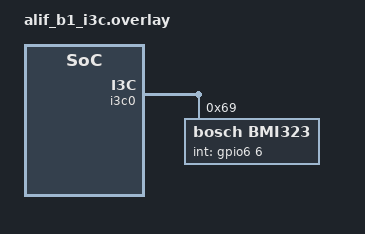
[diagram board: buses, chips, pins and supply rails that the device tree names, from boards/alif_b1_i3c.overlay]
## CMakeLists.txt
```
cmake_minimum_required(VERSION 3.20.0)
find_package(Zephyr REQUIRED HINTS $ENV{ZEPHYR_BASE})
project(i3c)

set(I3C_COMMON_SOURCES src/i3c_common.c)

set(I3C_DISCOVERY_SOURCES src/i3c_discovery.c ${I3C_COMMON_SOURCES})

set(I3C_CCC_SOURCES src/i3c_ccc.c ${I3C_COMMON_SOURCES})

set(I3C_IBI_SOURCES src/i3c_ibi.c ${I3C_COMMON_SOURCES})

set(I3C_NEGATIVE_SOURCES src/i3c_negative.c ${I3C_COMMON_SOURCES})

set(I3C_SENSOR_SOURCES src/i3c_sensor.c ${I3C_COMMON_SOURCES})


if(CONFIG_I3C_DISCOVERY_TESTS)
  target_sources(app PRIVATE ${I3C_DISCOVERY_SOURCES})
endif()

if(CONFIG_I3C_CCC_TESTS)
  target_sources(app PRIVATE ${I3C_CCC_SOURCES})
endif()

if(CONFIG_I3C_IBI_TESTS)
  target_sources(app PRIVATE ${I3C_IBI_SOURCES})
endif()

if(CONFIG_I3C_NEGATIVE_TESTS)
  target_sources(app PRIVATE ${I3C_NEGATIVE_SOURCES})
endif()

if(CONFIG_I3C_SENSOR_TESTS)
  target_sources(app PRIVATE ${I3C_SENSOR_SOURCES})
endif()
```

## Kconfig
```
# SPDX-License-Identifier: Apache-2.0
#
# Copyright Alif Semiconductor - All Rights Reserved.
# Use, distribution and modification of this code is permitted under the
# terms stated in the Alif Semiconductor Software License Agreement
#
# You should have received a copy of the Alif Semiconductor Software
# License Agreement with this file. If not, please write to:
# contact@alifsemi.com, or visit: https://alifsemi.com/license

menu "I3C test options"

config I3C_ALL_TESTS
	bool "Enable all I3C test suites"
	select I3C_DISCOVERY_TESTS
	select I3C_CCC_TESTS
	select I3C_IBI_TESTS
	select I3C_NEGATIVE_TESTS
	help
	  This option enables all standard I3C test suites including
	  discovery tests, Common Command Code (CCC) tests, In-Band
	  Interrupt (IBI) tests, negative tests.
	  This is a convenience option for running comprehensive I3C
	  controller validation. Note that I3C_SENSOR_TESTS is not
	  included as it requires specific sensor hardware.

config I3C_DISCOVERY_TESTS
	bool "Enable I3C discovery test suite"
	help
	  This option enables the I3C discovery test suite which validates
	  the Dynamic Address Assignment (DAA) process, Provisional ID (PID)
	  retrieval, target enumeration, RSTDAA broadcast commands, and
	  various discovery-related CCCs. These tests verify that the I3C
	  controller can properly discover and configure devices on the bus.

config I3C_CCC_TESTS
	bool "Enable I3C CCC test suite"
	help
	  This option enables the Common Command Code (CCC) test suite
	  which tests mandatory and optional CCCs including GETPID,
	  GETBCR, GETDCR, GETSTATUS, GETMRL, SETMWL, GETMWL, ENEC,
	  DISEC, RSTACT, and GETCAPS. These tests verify that the I3C
	  controller can properly send and receive CCC commands to targets.

config I3C_IBI_TESTS
	bool "Enable I3C IBI test suite"
	help
	  This option enables the In-Band Interrupt (IBI) test suite which
	  validates IBI capability detection via BCR register, ENEC and
	  DISEC commands for enabling/disabling interrupts, and transfer
	  operations with IBI enabled. These tests verify that the I3C
	  controller can handle in-band interrupt requests from targets.

config I3C_NEGATIVE_TESTS
	bool "Enable I3C negative test suite"
	help
	  This option enables the negative test suite which validates
	  error handling for invalid dynamic addresses, null buffer
	  transfers, zero-length transfers, oversized transfers, and
	  CCC commands to invalid targets. These tests verify that the
	  I3C controller properly handles and reports error conditions.

config I3C_SENSOR_TESTS
	bool "Enable I3C sensor test suite"
	help
	  This option enables the sensor test suite which validates
	  real I3C sensor devices including the BMI323 accelerometer
	  and gyroscope, and the ICM42670 motion sensor. These tests
	  require the actual sensor hardware to be connected and
	  configured in the device tree. Enable this only when testing
	  with physical sensor devices present on the I3C bus.

endmenu

source "Kconfig.zephyr"
```

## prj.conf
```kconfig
# Core I3C and test configuration
CONFIG_TEST=y
CONFIG_I3C=y
CONFIG_ZTEST=y
CONFIG_ZTEST_STACK_SIZE=4096

# Memory slab for runtime I3C descriptors (8 = max DAT positions)
CONFIG_I3C_NUM_OF_DESC_MEM_SLABS=8

# Sensor support for BMI323 and ICM42670 tests
CONFIG_SENSOR=y
CONFIG_BMI323=y

# Required dependencies
CONFIG_CLOCK_CONTROL=y
CONFIG_LOG=y
CONFIG_LOG_DEFAULT_LEVEL=3
CONFIG_I3C_LOG_LEVEL_DBG=n
CONFIG_HEAP_MEM_POOL_SIZE=1024
```

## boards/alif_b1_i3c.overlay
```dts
/*
 * Copyright Alif Semiconductor - All Rights Reserved.
 * Use, distribution and modification of this code is permitted under the
 * terms stated in the Alif Semiconductor Software License Agreement
 *
 * You should have received a copy of the Alif Semiconductor Software
 * License Agreement with this file. If not, please write to:
 * contact@alifsemi.com, or visit: https://alifsemi.com/license
 */

/ {
	chosen {
		zephyr,i3c = &i3c0;
	};
	aliases {
		bmi323 = &bmi323;
	};
};

&i3c0 {
	status = "okay";
	od-thigh-min-ns = <41>;
	od-tlow-min-ns = <200>;

	bmi323: bmi323@690000077010431000 {
		compatible = "bosch,bmi323";
		reg = <0x69 0x0770 0x10431000>;
		assigned-address = <0x09>;
		int-gpios = <&gpio6 6 GPIO_ACTIVE_HIGH>;
		status = "okay";
	};
};

&gpio0 {
	status = "okay";
};

&gpio6 {
	status = "okay";
};
```

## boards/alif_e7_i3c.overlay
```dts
/*
 * Copyright Alif Semiconductor - All Rights Reserved.
 * Use, distribution and modification of this code is permitted under the
 * terms stated in the Alif Semiconductor Software License Agreement
 *
 * You should have received a copy of the Alif Semiconductor Software
 * License Agreement with this file. If not, please write to:
 * contact@alifsemi.com, or visit: https://alifsemi.com/license
 */

/ {
	chosen {
		zephyr,i3c = &i3c0;
	};
	aliases {
		bmi323 = &bmi323;
	};
};

&i3c0 {
	status = "okay";
	od-thigh-min-ns = <41>;
	od-tlow-min-ns = <200>;

	bmi323: bmi323@690000077010431000 {
		compatible = "bosch,bmi323";
		reg = <0x69 0x0770 0x10431000>;
		assigned-address = <0x09>;
		int-gpios = <&gpio8 4 GPIO_ACTIVE_HIGH>;
		status = "okay";
	};
};

&gpio7 {
	status = "okay";
};

&gpio8 {
	status = "okay";
};
```

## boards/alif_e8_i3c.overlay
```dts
/*
 * Copyright Alif Semiconductor - All Rights Reserved.
 * Use, distribution and modification of this code is permitted under the
 * terms stated in the Alif Semiconductor Software License Agreement
 *
 * You should have received a copy of the Alif Semiconductor Software
 * License Agreement with this file. If not, please write to:
 * contact@alifsemi.com, or visit: https://alifsemi.com/license
 */

/ {
	chosen {
		zephyr,i3c = &i3c0;
	};
	aliases {
		bmi323 = &bmi323;
	};
};

&i3c0 {
	status = "okay";
	od-thigh-min-ns = <41>;
	od-tlow-min-ns = <200>;
	bmi323: bmi323@690000077010431000 {
		compatible = "bosch,bmi323";
		reg = <0x69 0x0770 0x10431000>;
		assigned-address = <0x09>;
		int-gpios = <&gpio8 4 GPIO_ACTIVE_HIGH>;
		status = "okay";
	};
};

&gpio7 {
	status = "okay";
};

&gpio8 {
	status = "okay";
};
```

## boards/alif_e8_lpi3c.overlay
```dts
/*
 * Copyright Alif Semiconductor - All Rights Reserved.
 * Use, distribution and modification of this code is permitted under the
 * terms stated in the Alif Semiconductor Software License Agreement
 *
 * You should have received a copy of the Alif Semiconductor Software
 * License Agreement with this file. If not, please write to:
 * contact@alifsemi.com, or visit: https://alifsemi.com/license
 */

/ {
	chosen {
		zephyr,i3c = &lpi3c0;
	};
	aliases {
		bmi323 = &bmi323;
	};
};

&lpi3c0 {
	status = "okay";
	od-thigh-min-ns = <41>;
	od-tlow-min-ns = <200>;

	bmi323: bmi323@690000077010431000 {
		compatible = "bosch,bmi323";
		reg = <0x69 0x0770 0x10431000>;
		assigned-address = <0x09>;
		int-gpios = <&gpio8 4 GPIO_ACTIVE_HIGH>;
		status = "okay";
	};
};

&gpio7 {
	status = "okay";
};

&gpio8 {
	status = "okay";
};
```

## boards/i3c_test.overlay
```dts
/*
 * Copyright Alif Semiconductor - All Rights Reserved.
 * Use, distribution and modification of this code is permitted under the
 * terms stated in the Alif Semiconductor Software License Agreement
 *
 * You should have received a copy of the Alif Semiconductor Software
 * License Agreement with this file. If not, please write to:
 * contact@alifsemi.com, or visit: https://alifsemi.com/license
 */

/ {
	aliases {
		/*
		 * Add aliases here for each I3C target device.
		 * Uncomment to enable, comment to disable.
		 */
		bmi323 = &bmi323;
	};

};

&i3c0 {
	status = "okay";
	od-thigh-min-ns = <41>;
	od-tlow-min-ns = <200>;

	/*
	 * BMI323 I3C sensor
	 * PID: 0x077010431000 (manufacturer part-specific)
	 * reg format: <static_addr pid_high pid_low>
	 * - static_addr: 0x69 (7-bit I2C legacy address)
	 * - pid_high: 0x0770 (MSB of 48-bit PID)
	 * - pid_low: 0x10431000 (LSB of 48-bit PID)
	 */
	bmi323: bmi323@690000077010431000 {
		compatible = "bosch,bmi323";
		reg = <0x69 0x0770 0x10431000>;
		assigned-address = <0x09>;
		int-gpios = <&gpio8 4 GPIO_ACTIVE_HIGH>;
		status = "okay";
	};
};

&gpio8 {
	status = "okay";
};
```

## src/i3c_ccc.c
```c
/* Copyright Alif Semiconductor - All Rights Reserved.
 * Use, distribution and modification of this code is permitted under the
 * terms stated in the Alif Semiconductor Software License Agreement
 *
 * You should have received a copy of the Alif Semiconductor Software
 * License Agreement with this file. If not, please write to:
 * contact@alifsemi.com, or visit: https://alifsemi.com/license
 */

#include <zephyr/ztest.h>
#include <zephyr/logging/log.h>
#include <inttypes.h>
#include "i3c_common.h"

LOG_MODULE_REGISTER(i3c_ccc, LOG_LEVEL_INF);

static const struct device *ctrl;

/**
 * @brief CCC test suite setup function
 *
 * Initializes I3C controller and resets bus to clean SDR state.
 * All CCC tests use I3C_TEST_FOR_EACH_MODE macro to iterate
 * through enabled speed modes (SDR by default).
 *
 * @return NULL on success, asserts on failure
 */
static void *suite_setup(void)
{
	ctrl = DEVICE_DT_GET(I3C_CONTROLLER_NODE);
	zassert_true(device_is_ready(ctrl), "I3C controller not ready");

	/* Configure SDR mode only.
	 * NOTE: Zephyr does not support hot-join. DAA must be done by
	 * application or device initialization before tests run.
	 * We do NOT perform RSTDAA+DAA here because:
	 * 1. If all suites run at once, repeated RSTDAA causes address
	 *    increments and driver state issues
	 * 2. If suites run individually, system/DT init should have
	 *    already performed DAA
	 */
	i3c_test_reset_to_sdr(ctrl);

	return NULL;
}

static void test_before(void *fixture)
{
	struct i3c_device_desc *desc;
	int found = 0;

	ARG_UNUSED(fixture);

	/* Verify devices were assigned addresses by prior DAA */
	I3C_BUS_FOR_EACH_I3CDEV(ctrl, desc) {
		if (desc->dynamic_addr != 0U) {
			found++;
		}
	}

	if (found == 0) {
		LOG_WRN("No devices with dynamic address - ensure DAA completed before tests");
		ztest_test_skip();
	}
}

static void test_after(void *fixture)
{
	ARG_UNUSED(fixture);
}

ZTEST_SUITE(i3c_ccc, NULL, suite_setup, test_before, test_after, NULL);

/**
 * @brief Test GETPID (Get Provisional ID) CCC command
 *
 * Retrieves 48-bit provisional ID from each target across all
 * speed modes. PID contains manufacturer ID and unique device ID.
 *
 * Test flow:
 * 1. Iterate through all speed modes
 * 2. For each target, send GETPID CCC
 * 3. Verify response (6 bytes received)
 */
ZTEST(i3c_ccc, test_getpid)
{
	I3C_TEST_FOR_EACH_MODE(ctrl, mode) {
		/* Delay after mode change for targets to stabilize */
		k_msleep(50);

		I3C_TEST_FOR_EACH_TARGET(ctrl, desc) {
			uint8_t pid[6];
			int ret = i3c_do_ccc_getpid(ctrl, desc->dynamic_addr,
						    pid, 6);

			/* Per I3C spec, GETPID is mandatory. */
			zassert_true(ret == 6,
				     "GETPID failed DA=0x%02x %s: %d (exp 6)",
				     desc->dynamic_addr,
				     i3c_test_mode_name(mode), ret);

			/* Verify PID matches descriptor */
			uint64_t pid_from_ccc = ((uint64_t)pid[0] << 40) |
						((uint64_t)pid[1] << 32) |
						((uint64_t)pid[2] << 24) |
						((uint64_t)pid[3] << 16) |
						((uint64_t)pid[4] << 8) |
						pid[5];
			LOG_INF("DA=0x%02x PID: CCC=0x%012" PRIx64
				" desc=0x%012" PRIx64,
				desc->dynamic_addr, pid_from_ccc, desc->pid);
			zassert_equal(pid_from_ccc, desc->pid,
				      "PID mismatch DA=0x%02x",
				      desc->dynamic_addr);
		} I3C_TEST_END_EACH_TARGET
	} I3C_TEST_END_EACH_MODE
}

/**
 * @brief Test GETBCR (Bus Characteristics Register) and
 *        GETDCR (Device Characteristics Register) CCC commands
 *
 * Retrieves bus and device characteristics from each target.
 * BCR contains target capabilities, DCR contains device role.
 *
 * Per I3C specification, GETBCR and GETDCR are mandatory CCCs.
 * Test verifies both values match the device descriptor.
 */
ZTEST(i3c_ccc, test_getbcr_getdcr)
{
	I3C_TEST_FOR_EACH_MODE(ctrl, mode) {
		I3C_TEST_FOR_EACH_TARGET(ctrl, desc) {
			uint8_t bcr, dcr;
			int ret;

			/* Per I3C spec, GETBCR is mandatory */
			ret = i3c_do_ccc_getbcr(ctrl, desc->dynamic_addr, &bcr);
			zassert_ok(ret,
				   "GETBCR failed DA=0x%02x %s",
				   desc->dynamic_addr,
				   i3c_test_mode_name(mode));

			/* Verify BCR matches descriptor */
			LOG_INF("DA=0x%02x BCR: CCC=0x%02x desc=0x%02x",
				desc->dynamic_addr, bcr, desc->bcr);
			zassert_equal(bcr, desc->bcr,
				      "BCR mismatch DA=0x%02x",
				      desc->dynamic_addr);

			/* Per I3C spec, GETDCR is mandatory */
			ret = i3c_do_ccc_getdcr(ctrl, desc->dynamic_addr, &dcr);
			zassert_ok(ret,
				   "GETDCR failed DA=0x%02x %s",
				   desc->dynamic_addr,
				   i3c_test_mode_name(mode));

			/* Verify DCR matches descriptor */
			zassert_equal(dcr, desc->dcr,
				      "DCR mismatch DA=0x%02x %s",
				      desc->dynamic_addr,
				      i3c_test_mode_name(mode));
		} I3C_TEST_END_EACH_TARGET
	} I3C_TEST_END_EACH_MODE
}

/**
 * @brief Test GETSTATUS CCC command
 *
 * Retrieves device status from each target. Status includes
 * pending interrupts, protocol errors, and device state.
 *
 * Note: GETSTATUS may not be supported by all targets.
 * Failures are logged as debug messages, not test failures.
 */
ZTEST(i3c_ccc, test_getstatus)
{
	I3C_TEST_FOR_EACH_MODE(ctrl, mode) {
		bool tested = false;

		I3C_TEST_FOR_EACH_TARGET(ctrl, desc) {
			uint16_t status;
			int ret = i3c_do_ccc_getstatus(ctrl, desc->dynamic_addr,
						       &status);

			/* GETSTATUS is optional - skip this target
			 * if not supported
			 */
			if (ret == -ENOTSUP) {
				continue;
			}

			/* If supported, it must work correctly */
			zassert_ok(ret,
				   "GETSTATUS failed DA=0x%02x %s: %d",
				   desc->dynamic_addr,
				   i3c_test_mode_name(mode), ret);
			tested = true;
		} I3C_TEST_END_EACH_TARGET

		/* Skip only if no targets supported GETSTATUS in this mode */
		if (!tested) {
			ztest_test_skip();
		}
	} I3C_TEST_END_EACH_MODE
}

/**
 * @brief Test GETMRL (Get Max Read Length) CCC command
 *
 * Retrieves maximum read length supported by each target.
 * MRL indicates the maximum number of bytes target can
 * return in a single read transaction.
 *
 * Note: GETMRL may not be supported by all targets.
 */
ZTEST(i3c_ccc, test_getmrl)
{
	I3C_TEST_FOR_EACH_MODE(ctrl, mode) {
		bool tested = false;

		I3C_TEST_FOR_EACH_TARGET(ctrl, desc) {
			uint16_t mrl;
			int ret = i3c_do_ccc_getmrl(ctrl, desc->dynamic_addr,
						    &mrl);

			/* GETMRL is optional - skip this target
			 * if not supported
			 */
			if (ret == -ENOTSUP) {
				continue;
			}

			/* If supported, it must work correctly */
			zassert_ok(ret,
				   "GETMRL failed DA=0x%02x %s: %d",
				   desc->dynamic_addr,
				   i3c_test_mode_name(mode), ret);

			/* Per MIPI spec: MRL=0 means no limit */
			if (mrl == 0) {
				LOG_INF("DA=0x%02x MRL=0, skip",
					desc->dynamic_addr);
			} else {
				zassert_true(mrl <= 0xFFFF,
					     "MRL 0x%04x out of range on DA=0x%02x",
					     mrl, desc->dynamic_addr);
			}
			tested = true;
		} I3C_TEST_END_EACH_TARGET

		/* Skip only if no targets supported GETMRL in this mode */
		if (!tested) {
			ztest_test_skip();
		}
	} I3C_TEST_END_EACH_MODE
}

/**
 * @brief Test SETMWL (Set Max Write Length) CCC command
 *
 * Sets maximum write length to 64 bytes for each target.
 * First retrieves current MWL, then attempts to set new value.
 *
 * Note: SETMWL may not be supported by all targets.
 */
ZTEST(i3c_ccc, test_setmwl)
{
	I3C_TEST_FOR_EACH_MODE(ctrl, mode) {
		bool tested = false;

		I3C_TEST_FOR_EACH_TARGET(ctrl, desc) {
			uint16_t mwl, new_mwl;
			int ret;

			/* Get current MWL */
			ret = i3c_do_ccc_getmwl(ctrl, desc->dynamic_addr, &mwl);
			if (ret == -ENOTSUP) {
				continue;
			}
			zassert_ok(ret, "GETMWL failed on DA=0x%02x: %d",
				   desc->dynamic_addr, ret);

			/* Per MIPI I3C spec: MWL=0 means no limit */
			if (mwl == 0) {
				LOG_INF("DA=0x%02x MWL=0, skip SETMWL",
					desc->dynamic_addr);
				continue;
			}

			/* Set new MWL to 64 bytes */
			ret = i3c_do_ccc_setmwl(ctrl, desc->dynamic_addr, 64);
			if (ret == -ENOTSUP) {
				continue;
			}
			zassert_ok(ret, "SETMWL failed on DA=0x%02x: %d",
				   desc->dynamic_addr, ret);

			/* Verify MWL was set correctly */
			ret = i3c_do_ccc_getmwl(ctrl, desc->dynamic_addr,
						&new_mwl);
			zassert_ok(ret, "GETMWL verify failed DA=0x%02x: %d",
				   desc->dynamic_addr, ret);
			zassert_equal(new_mwl, 64,
				    "MWL mismatch DA=0x%02x: exp 64, got %d",
				    desc->dynamic_addr, new_mwl);

			/* Restore original MWL */
			ret = i3c_do_ccc_setmwl(ctrl, desc->dynamic_addr, mwl);
			zassert_ok(ret,
				   "SETMWL restore failed DA=0x%02x: %d",
				   desc->dynamic_addr, ret);
			tested = true;
		} I3C_TEST_END_EACH_TARGET

		/* Skip only if no targets supported SETMWL in this mode */
		if (!tested) {
			ztest_test_skip();
		}
	} I3C_TEST_END_EACH_MODE
}

/**
 * @brief Test RSTACT (Reset Action) CCC command
 *
 * Triggers reset action (0x00 = full reset) on each target.
 * Verifies target responds to reset command.
 *
 * Note: RSTACT may not be supported by all targets.
 */
ZTEST(i3c_ccc, test_rstact)
{
	I3C_TEST_FOR_EACH_MODE(ctrl, mode) {
		I3C_TEST_FOR_EACH_TARGET(ctrl, desc) {
			int ret = i3c_do_ccc_rstact(ctrl, desc->dynamic_addr,
						    0x00);

			/* RSTACT is optional - skip if not supported */
			if (ret == -ENOTSUP) {
				ztest_test_skip();
			}

			/* If supported, it must work correctly */
			zassert_ok(ret,
				   "RSTACT failed DA=0x%02x %s: %d",
				   desc->dynamic_addr,
				   i3c_test_mode_name(mode), ret);
		} I3C_TEST_END_EACH_TARGET
	} I3C_TEST_END_EACH_MODE
}

/**
 * @brief Test ENEC (Enable Events Command) directed CCC
 *
 * Enables interrupt events (bit 0 = INTR) on each target.
 * Skips ghost targets (SA=0x00) that don't exist.
 *
 * Note: ENEC may not be supported by all targets.
 * BMI323 and ICM42670 do not support this command.
 */
ZTEST(i3c_ccc, test_enec_direct)
{
	I3C_TEST_FOR_EACH_MODE(ctrl, mode) {
		I3C_TEST_FOR_EACH_TARGET(ctrl, desc) {
			/* Skip ghost targets */
			if (desc->static_addr == 0x00) {
				continue;
			}

			int ret = i3c_do_ccc_enec(ctrl, desc->dynamic_addr,
						  0x01);

			/* ENEC is optional - skip if not supported */
			if (ret == -ENOTSUP) {
				ztest_test_skip();
			}

			/* If supported, it must work correctly */
			zassert_ok(ret,
				   "ENEC failed DA=0x%02x %s: %d",
				   desc->dynamic_addr,
				   i3c_test_mode_name(mode), ret);
		} I3C_TEST_END_EACH_TARGET
	} I3C_TEST_END_EACH_MODE
}

/**
 * @brief Test DISEC (Disable Events Command) directed CCC
 *
 * Disables interrupt events (bit 0 = INTR) on each target.
 * Skips ghost targets (SA=0x00) that don't exist.
 *
 * Note: DISEC may not be supported by all targets.
 * BMI323 and ICM42670 do not support this command.
 */
ZTEST(i3c_ccc, test_disec_direct)
{
	I3C_TEST_FOR_EACH_MODE(ctrl, mode) {
		I3C_TEST_FOR_EACH_TARGET(ctrl, desc) {
			/* Skip ghost targets */
			if (desc->static_addr == 0x00) {
				continue;
			}

			int ret = i3c_do_ccc_disec(ctrl, desc->dynamic_addr,
						   0x01);

			/* DISEC is optional - skip if not supported */
			if (ret == -ENOTSUP) {
				ztest_test_skip();
			}

			/* If supported, it must work correctly */
			zassert_ok(ret,
				   "DISEC failed DA=0x%02x %s: %d",
				   desc->dynamic_addr,
				   i3c_test_mode_name(mode), ret);
		} I3C_TEST_END_EACH_TARGET
	} I3C_TEST_END_EACH_MODE
}

/**
 * @brief Test multiple event enable/disable sequence
 *
 * Enables multiple events (bits 0 and 1), then disables them.
 * Tests ENEC and DISEC with multi-bit masks.
 *
 * Test flow:
 * 1. Enable events 0 and 1
 * 2. If successful, disable events 0 and 1
 */
ZTEST(i3c_ccc, test_multiple_events)
{
	I3C_TEST_FOR_EACH_MODE(ctrl, mode) {
		I3C_TEST_FOR_EACH_TARGET(ctrl, desc) {
			int ret = i3c_do_ccc_enec(ctrl, desc->dynamic_addr,
						  0x03);

			/* ENEC/DISEC are optional - skip if not supported */
			if (ret == -ENOTSUP) {
				ztest_test_skip();
			}

			zassert_ok(ret, "ENEC multiple failed on DA=0x%02x: %d",
				   desc->dynamic_addr, ret);

			ret = i3c_do_ccc_disec(ctrl, desc->dynamic_addr, 0x03);
			zassert_ok(ret, "DISEC failed DA=0x%02x: %d",
				   desc->dynamic_addr, ret);
		} I3C_TEST_END_EACH_TARGET
	} I3C_TEST_END_EACH_MODE
}

/**
 * @brief Test GETCAPS (Get Device Capabilities) CCC command
 *
 * Retrieves device capabilities byte from each target.
 * CAPS indicates optional features supported by the device.
 *
 * Note: GETCAPS may not be supported by all targets.
 */
ZTEST(i3c_ccc, test_device_capabilities)
{
	I3C_TEST_FOR_EACH_MODE(ctrl, mode) {
		I3C_TEST_FOR_EACH_TARGET(ctrl, desc) {
			uint8_t caps[4];
			int ret = i3c_do_ccc_getcaps(ctrl, desc->dynamic_addr,
						     caps, 4);

			/* GETCAPS is optional - skip if not supported */
			if (ret == -ENOTSUP ||
			    ret == -ENXIO) {
				ztest_test_skip();
			}

			/* If supported, it must work correctly */
			zassert_ok(ret,
				   "GETCAPS failed DA=0x%02x %s: %d",
				   desc->dynamic_addr,
				   i3c_test_mode_name(mode), ret);
		} I3C_TEST_END_EACH_TARGET
	} I3C_TEST_END_EACH_MODE
}

/**
 * @brief Test ENEC broadcast CCC command
 *
 * Broadcasts ENEC command to all targets on the bus.
 * Enables interrupt events (bit 0) on all targets simultaneously.
 */
ZTEST(i3c_ccc, test_enec_broadcast)
{
	int ret = i3c_do_ccc_enec_broadcast(ctrl, 0x01);

	zassert_ok(ret, "ENEC broadcast failed");
}

/**
 * @brief Test DISEC broadcast CCC command
 *
 * Broadcasts DISEC command to all targets on the bus.
 * Disables interrupt events (bit 0) on all targets simultaneously.
 */
ZTEST(i3c_ccc, test_disec_broadcast)
{
	int ret = i3c_do_ccc_disec_broadcast(ctrl, 0x01);

	zassert_ok(ret, "DISEC broadcast failed");
}
```

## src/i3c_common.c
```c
/* Copyright Alif Semiconductor - All Rights Reserved.
 * Use, distribution and modification of this code is permitted under the
 * terms stated in the Alif Semiconductor Software License Agreement
 *
 * You should have received a copy of the Alif Semiconductor Software
 * License Agreement with this file. If not, please write to:
 * contact@alifsemi.com, or visit: https://alifsemi.com/license
 */

#include <zephyr/kernel.h>
#include <zephyr/drivers/i3c.h>
#include <zephyr/logging/log.h>
#include <string.h>
#include "i3c_common.h"

LOG_MODULE_REGISTER(i3c_common, LOG_LEVEL_INF);

/* CCC wrapper functions */
int i3c_do_ccc_rstdaa(const struct device *ctrl)
{
	return i3c_ccc_do_rstdaa_all(ctrl);
}

int i3c_do_ccc_entdaa(const struct device *ctrl)
{
	struct i3c_ccc_payload ccc = { .ccc.id = I3C_CCC_ENTDAA };

	return i3c_do_ccc(ctrl, &ccc);
}

int i3c_do_ccc_getpid(const struct device *ctrl, uint8_t da,
		      uint8_t *pid, size_t len)
{
	if (!pid || len < 6) {
		return -EINVAL;
	}

	struct i3c_ccc_target_payload target = {
		.addr = da,
		.rnw = 1,
		.data = pid,
		.data_len = 6,
	};
	struct i3c_ccc_payload ccc = {
		.ccc.id = I3C_CCC_GETPID,
		.targets.payloads = &target,
		.targets.num_targets = 1,
	};

	int ret = i3c_do_ccc(ctrl, &ccc);

	if (ret < 0) {
		return ret;
	}
	return target.num_xfer;
}

int i3c_do_ccc_getbcr(const struct device *ctrl, uint8_t da, uint8_t *bcr)
{
	if (!bcr) {
		return -EINVAL;
	}

	struct i3c_ccc_target_payload target = {
		.addr = da,
		.rnw = 1,
		.data = bcr,
		.data_len = 1,
	};
	struct i3c_ccc_payload ccc = {
		.ccc.id = I3C_CCC_GETBCR,
		.targets.payloads = &target,
		.targets.num_targets = 1,
	};

	return i3c_do_ccc(ctrl, &ccc);
}

int i3c_do_ccc_getdcr(const struct device *ctrl, uint8_t da, uint8_t *dcr)
{
	if (!dcr) {
		return -EINVAL;
	}

	struct i3c_ccc_target_payload target = {
		.addr = da,
		.rnw = 1,
		.data = dcr,
		.data_len = 1,
	};
	struct i3c_ccc_payload ccc = {
		.ccc.id = I3C_CCC_GETDCR,
		.targets.payloads = &target,
		.targets.num_targets = 1,
	};

	return i3c_do_ccc(ctrl, &ccc);
}

int i3c_do_ccc_setmwl(const struct device *ctrl, uint8_t da, uint16_t mwl)
{
	uint8_t data[2] = { (mwl >> 8) & 0xFF, mwl & 0xFF };
	struct i3c_ccc_target_payload target = {
		.addr = da,
		.rnw = 0,
		.data = data,
		.data_len = 2,
	};
	struct i3c_ccc_payload ccc = {
		.ccc.id = I3C_CCC_SETMWL(false),
		.targets.payloads = &target,
		.targets.num_targets = 1,
	};

	return i3c_do_ccc(ctrl, &ccc);
}

int i3c_do_ccc_getmwl(const struct device *ctrl, uint8_t da, uint16_t *mwl)
{
	if (!mwl) {
		return -EINVAL;
	}

	uint8_t data[2];
	struct i3c_ccc_target_payload target = {
		.addr = da,
		.rnw = 1,
		.data = data,
		.data_len = 2,
	};
	struct i3c_ccc_payload ccc = {
		.ccc.id = I3C_CCC_GETMWL,
		.targets.payloads = &target,
		.targets.num_targets = 1,
	};

	int ret = i3c_do_ccc(ctrl, &ccc);

	if (ret >= 0) {
		*mwl = ((uint16_t)data[0] << 8) | data[1];
	}
	return ret;
}

int i3c_do_ccc_enec(const struct device *ctrl, uint8_t da, uint8_t events)
{
	struct i3c_ccc_target_payload target = {
		.addr = da,
		.rnw = 0,
		.data = &events,
		.data_len = 1,
	};
	struct i3c_ccc_payload ccc = {
		.ccc.id = I3C_CCC_ENEC(false),
		.targets.payloads = &target,
		.targets.num_targets = 1,
	};

	return i3c_do_ccc(ctrl, &ccc);
}

int i3c_do_ccc_disec(const struct device *ctrl, uint8_t da, uint8_t events)
{
	struct i3c_ccc_target_payload target = {
		.addr = da,
		.rnw = 0,
		.data = &events,
		.data_len = 1,
	};
	struct i3c_ccc_payload ccc = {
		.ccc.id = I3C_CCC_DISEC(false),
		.targets.payloads = &target,
		.targets.num_targets = 1,
	};

	return i3c_do_ccc(ctrl, &ccc);
}

int i3c_do_ccc_getmrl(const struct device *ctrl, uint8_t da, uint16_t *mrl)
{
	if (!mrl) {
		return -EINVAL;
	}

	uint8_t data[2];
	struct i3c_ccc_target_payload target = {
		.addr = da,
		.rnw = 1,
		.data = data,
		.data_len = 2,
	};
	struct i3c_ccc_payload ccc = {
		.ccc.id = I3C_CCC_GETMRL,
		.targets.payloads = &target,
		.targets.num_targets = 1,
	};

	int ret = i3c_do_ccc(ctrl, &ccc);

	if (ret >= 0) {
		*mrl = ((uint16_t)data[0] << 8) | data[1];
	}
	return ret;
}

int i3c_do_ccc_getstatus(const struct device *ctrl, uint8_t da,
			 uint16_t *status)
{
	if (!status) {
		return -EINVAL;
	}

	uint8_t data[2];
	struct i3c_ccc_target_payload target = {
		.addr = da,
		.rnw = 1,
		.data = data,
		.data_len = 2,
	};
	struct i3c_ccc_payload ccc = {
		.ccc.id = I3C_CCC_GETSTATUS,
		.targets.payloads = &target,
		.targets.num_targets = 1,
	};

	int ret = i3c_do_ccc(ctrl, &ccc);

	if (ret >= 0) {
		*status = ((uint16_t)data[0] << 8) | data[1];
	}
	return ret;
}

int i3c_do_ccc_enec_broadcast(const struct device *ctrl, uint8_t events)
{
	struct i3c_ccc_payload ccc = {
		.ccc.id = I3C_CCC_ENEC(true),
		.ccc.data = &events,
		.ccc.data_len = 1,
	};

	return i3c_do_ccc(ctrl, &ccc);
}

int i3c_do_ccc_disec_broadcast(const struct device *ctrl, uint8_t events)
{
	struct i3c_ccc_payload ccc = {
		.ccc.id = I3C_CCC_DISEC(true),
		.ccc.data = &events,
		.ccc.data_len = 1,
	};

	return i3c_do_ccc(ctrl, &ccc);
}

int i3c_do_ccc_getcaps(const struct device *ctrl, uint8_t da,
		       uint8_t *caps, size_t len)
{
	if (!caps || len == 0) {
		return -EINVAL;
	}

	struct i3c_ccc_target_payload target = {
		.addr = da,
		.rnw = 1,
		.data = caps,
		.data_len = len,
	};
	struct i3c_ccc_payload ccc = {
		.ccc.id = I3C_CCC_GETCAPS,
		.targets.payloads = &target,
		.targets.num_targets = 1,
	};

	return i3c_do_ccc(ctrl, &ccc);
}

int i3c_do_ccc_rstact(const struct device *ctrl, uint8_t da, uint8_t action)
{
	struct i3c_ccc_target_payload target = {
		.addr = da,
		.rnw = 0,
		.data = &action,
		.data_len = 1,
	};
	struct i3c_ccc_payload ccc = {
		.ccc.id = I3C_CCC_RSTACT(false),
		.targets.payloads = &target,
		.targets.num_targets = 1,
	};

	return i3c_do_ccc(ctrl, &ccc);
}

/* ENTHDR - Enter HDR Mode (Broadcast, no data needed) */
int i3c_do_ccc_enthdr(const struct device *ctrl, uint8_t hdr_mode)
{
	struct i3c_ccc_payload ccc = {
		.ccc.id = I3C_CCC_ENTHDR(hdr_mode),
	};

	return i3c_do_ccc(ctrl, &ccc);
}

/* Transfer wrappers */
int i3c_transfer_write(const struct device *ctrl, uint8_t da,
		       const uint8_t *buf, size_t len)
{
	if (!buf || len == 0) {
		return -EINVAL;
	}

	struct i3c_device_desc *desc = i3c_find_target(ctrl, da);

	if (!desc) {
		return -ENODEV;
	}

	struct i3c_msg msg = {
		.buf = (uint8_t *)buf,
		.len = len,
		.flags = I3C_MSG_WRITE | I3C_MSG_STOP,
	};

	return i3c_transfer(desc, &msg, 1);
}

int i3c_transfer_read(const struct device *ctrl, uint8_t da,
		      uint8_t *buf, size_t len)
{
	if (!buf || len == 0) {
		return -EINVAL;
	}

	struct i3c_device_desc *desc = i3c_find_target(ctrl, da);

	if (!desc) {
		return -ENODEV;
	}

	struct i3c_msg msg = {
		.buf = buf,
		.len = len,
		.flags = I3C_MSG_READ | I3C_MSG_STOP,
	};

	return i3c_transfer(desc, &msg, 1);
}

int i3c_transfer_write_read(const struct device *ctrl, uint8_t da,
			    const uint8_t *write_buf, size_t write_len,
			    uint8_t *read_buf, size_t read_len)
{
	if (!write_buf || !read_buf || write_len == 0 || read_len == 0) {
		return -EINVAL;
	}

	struct i3c_device_desc *desc = i3c_find_target(ctrl, da);

	if (!desc) {
		return -ENODEV;
	}

	struct i3c_msg msgs[2] = {
		{
			.buf = (uint8_t *)write_buf,
			.len = write_len,
			.flags = I3C_MSG_WRITE | I3C_MSG_RESTART,
		},
		{
			.buf = read_buf,
			.len = read_len,
			.flags = I3C_MSG_READ | I3C_MSG_STOP,
		},
	};

	return i3c_transfer(desc, msgs, 2);
}

/* Register operations */
int i3c_reg_read(const struct device *ctrl, uint8_t da, uint8_t reg,
		 uint8_t *buf, size_t len)
{
	return i3c_transfer_write_read(ctrl, da, &reg, 1, buf, len);
}

int i3c_reg_write(const struct device *ctrl, uint8_t da, uint8_t reg,
		  const uint8_t *buf, size_t len)
{
	if (!buf || len == 0) {
		return -EINVAL;
	}

	struct i3c_device_desc *desc = i3c_find_target(ctrl, da);

	if (!desc) {
		return -ENODEV;
	}

	/* Allocate temp buffer for reg + data */
	uint8_t *tmp = k_malloc(len + 1);

	if (!tmp) {
		return -ENOMEM;
	}

	tmp[0] = reg;
	memcpy(&tmp[1], buf, len);

	struct i3c_msg msg = {
		.buf = tmp,
		.len = len + 1,
		.flags = I3C_MSG_WRITE | I3C_MSG_STOP,
	};

	int ret = i3c_transfer(desc, &msg, 1);

	k_free(tmp);

	return ret;
}

int i3c_reg8_read(const struct device *ctrl, uint8_t da,
		  uint8_t reg, uint8_t *val)
{
	if (!val) {
		return -EINVAL;
	}
	return i3c_reg_read(ctrl, da, reg, val, 1);
}

int i3c_reg8_write(const struct device *ctrl, uint8_t da,
		   uint8_t reg, uint8_t val)
{
	return i3c_reg_write(ctrl, da, reg, &val, 1);
}

/* Target helpers */
struct i3c_device_desc *i3c_find_target(const struct device *ctrl, uint8_t da)
{
	struct i3c_device_desc *desc;

	I3C_BUS_FOR_EACH_I3CDEV(ctrl, desc) {
		if (desc->dynamic_addr == da) {
			return desc;
		}
	}

	return NULL;
}

int i3c_get_target_count(const struct device *ctrl)
{
	int count = 0;
	struct i3c_device_desc *desc;

	I3C_BUS_FOR_EACH_I3CDEV(ctrl, desc) {
		count++;
	}

	return count;
}

/* Chip ID validation */
int i3c_check_chip_id(const struct device *ctrl, uint8_t da,
		      uint8_t reg, uint8_t expected)
{
	uint8_t val;
	int ret = i3c_reg8_read(ctrl, da, reg, &val);

	if (ret < 0) {
		return ret;
	}

	if (val != expected) {
		return -EIO;
	}

	return 0;
}

/* Multi-target iteration helpers */
int i3c_test_get_target_count(const struct device *ctrl)
{
	return i3c_get_target_count(ctrl);
}

int i3c_test_run_on_all_targets(const struct device *ctrl,
				int (*test_fn)(const struct device *ctrl,
					       uint8_t da))
{
	struct i3c_device_desc *desc;
	int count = 0;
	int errors = 0;

	I3C_BUS_FOR_EACH_I3CDEV(ctrl, desc) {
		if (count >= I3C_TEST_MAX_TARGETS) {
			break;
		}
		int ret = test_fn(ctrl, desc->dynamic_addr);

		if (ret < 0) {
			errors++;
		}
		count++;
	}

	return errors > 0 ? -EIO : count;
}

/* ============================================================================
 * Frequency Mode Implementation
 * ============================================================================
 * This provides runtime frequency mode testing with actual bus configuration.
 *
 * Modes:
 *   SDR:    Standard I3C mode (12.5 MHz)
 *   HDR-DDR: Double Data Rate mode (25 MHz)
 */

static const char * const mode_names[] = {
	"SDR",
#ifdef I3C_TEST_ENABLE_HDR_MODES
	"HDR-DDR",
	"HDR-TSP",
	"HDR-TSL",
#endif
#ifdef I3C_TEST_ENABLE_I2C_FM
	"I2C-FM",
	"I2C-FM+"
#endif
};

const char *i3c_test_mode_name(enum i3c_test_speed_mode mode)
{
	if (mode >= 0 && mode < I3C_TEST_NUM_MODES) {
		return mode_names[mode];
	}
	return "UNKNOWN";
}

/* Current speed mode tracking
 * Start as UNKNOWN to force initial configuration on first test run.
 * If we start as SDR, we'd skip configuration thinking it's already done.
 */
static enum i3c_test_speed_mode current_mode = I3C_TEST_NUM_MODES;
/**
 * @brief Attach a target device to the I3C controller.
 *
 * Wrapper around i3c_attach_i3c_device for test use.
 *
 * @param ctrl I3C controller device
 * @param desc Target device descriptor
 * @return 0 on success, negative errno on failure
 */
int i3c_test_attach_target(const struct device *ctrl,
			   struct i3c_device_desc *desc)
{
	int ret;

	ret = i3c_attach_i3c_device(desc);
	if (ret != 0) {
		LOG_ERR("Failed to attach target: %d", ret);
	}
	return ret;
}

/**
 * @brief Detach a target device from the I3C controller.
 *
 * Wrapper around i3c_detach_i3c_device for test use.
 *
 * @param ctrl I3C controller device
 * @param desc Target device descriptor
 * @return 0 on success, negative errno on failure
 */
int i3c_test_detach_target(const struct device *ctrl,
			   struct i3c_device_desc *desc)
{
	int ret;

	ret = i3c_detach_i3c_device(desc);
	if (ret != 0) {
		LOG_ERR("Failed to detach target: %d", ret);
	}
	return ret;
}

/**
 * @brief Perform RSTDAA + DAA sequence for test setup.
 *
 * Designed for test_before() fixture. Runs a single RSTDAA+DAA
 * sequence. Per MIPI I3C spec section 5.1.3, RSTDAA resets all
 * dynamic addresses and ENTDAA rediscovers all targets.
 *
 * @param ctrl I3C controller device
 * @return Number of assigned devices (>= 0), negative errno on failure
 */
int i3c_test_do_rstdaa_daa(const struct device *ctrl)
{
	struct i3c_device_desc *desc;
	int assigned = 0;
	int ret;

	if (!ctrl) {
		return -EINVAL;
	}

	ret = i3c_do_ccc_rstdaa(ctrl);
	if (ret < 0) {
		LOG_ERR("RSTDAA failed: %d", ret);
		return ret;
	}

	k_msleep(100);

	ret = i3c_recover_bus(ctrl);
	if (ret < 0) {
		LOG_DBG("Pre-DAA bus recovery returned: %d", ret);
	}

	k_msleep(100);

	ret = i3c_do_daa(ctrl);
	if (ret < 0) {
		LOG_ERR("DAA failed: %d", ret);
		return ret;
	}

	k_msleep(100);

	I3C_BUS_FOR_EACH_I3CDEV(ctrl, desc) {
		if (desc->dynamic_addr != 0U) {
			assigned++;
		}
	}

	LOG_INF("DAA completed, %d target(s) have dynamic addresses",
		assigned);

	return assigned;
}

/* Reset I3C bus to SDR mode - configures frequency only, NO RSTDAA+DAA */
int i3c_test_reset_to_sdr(const struct device *ctrl)
{
	struct i3c_config_controller config;
	int ret;

	/* NOTE: We do NOT call i3c_recover_bus() here because it resets
	 * the controller hardware, which clears the driver's device table.
	 * This causes a mismatch: targets retain their dynamic addresses
	 * from DAA, but the driver forgets them, leading to transfer failures.
	 */

	/* Skip reconfiguration if already in SDR mode.
	 * i3c_configure() may reset the controller hardware, which destroys
	 * driver/device state synchronization. Only configure if needed.
	 */
	if (current_mode == I3C_TEST_SDR) {
		LOG_DBG("Already in SDR mode, skipping reconfiguration");
		return 0;
	}

	/* Configure SDR mode at 12.5 MHz (matches device tree i3c-scl-hz) */
	memset(&config, 0, sizeof(config));
	config.scl.i3c = I3C_TEST_SDR_FREQ_HZ;
	/* Set open drain timing to meet I3C spec requirements */
	config.scl_od_min.high_ns = 41;
	config.scl_od_min.low_ns = 200;
	ret = i3c_configure(ctrl, I3C_CONFIG_CONTROLLER, &config);
	if (ret < 0) {
		LOG_ERR("Failed to configure SDR mode: %d", ret);
		return ret;
	}
	LOG_INF("SDR mode configured at %u Hz", I3C_TEST_SDR_FREQ_HZ);

	current_mode = I3C_TEST_SDR;
	/* Delay for bus to stabilize */
	k_msleep(100);

	return 0;
}

uint32_t i3c_test_mode_frequency(enum i3c_test_speed_mode mode)
{
	switch (mode) {
	case I3C_TEST_SDR:
		return I3C_TEST_SDR_FREQ_HZ;
#ifdef I3C_TEST_ENABLE_I2C_FM
	case I3C_TEST_I2C_FM:
		return I3C_TEST_I2C_FM_HZ;
	case I3C_TEST_I2C_FMPLUS:
		return I3C_TEST_I2C_FMPLUS_HZ;
#endif

#ifdef I3C_TEST_ENABLE_HDR_MODES
	case I3C_TEST_HDR_DDR:
	case I3C_TEST_HDR_TSP:
	case I3C_TEST_HDR_TSL:
		return I3C_TEST_HDR_FREQ_HZ;
#endif
	default:
		return 0;
	}
}

int i3c_test_set_speed_mode(const struct device *ctrl,
			    enum i3c_test_speed_mode mode)
{
	struct i3c_config_controller config;
	int ret;

	if (!ctrl || mode < 0 || mode >= I3C_TEST_NUM_MODES) {
		return -EINVAL;
	}

	/* Get current configuration */
	ret = i3c_config_get(ctrl, I3C_CONFIG_CONTROLLER, &config);
	if (ret < 0) {
		LOG_WRN("Failed to get I3C config: %d", ret);
		/* Continue with default values */
		memset(&config, 0, sizeof(config));
	}

	switch (mode) {
	case I3C_TEST_SDR:
		/* Skip reconfiguration if already in SDR mode.
		 * Repeated i3c_configure() calls may reset the controller,
		 * causing driver/device state mismatch.
		 */
		if (current_mode == I3C_TEST_SDR) {
			LOG_DBG("Already in SDR mode, skipping reconfiguration");
			return 0;
		}

		/* Configure SDR mode at 12.5 MHz (matches DT i3c-scl-hz) */
		config.scl.i3c = I3C_TEST_SDR_FREQ_HZ;
		ret = i3c_configure(ctrl, I3C_CONFIG_CONTROLLER, &config);
		if (ret < 0) {
			LOG_ERR("Failed to set SDR frequency: %d", ret);
			return ret;
		}
		current_mode = mode;
		LOG_INF("I3C bus SDR mode (%u Hz)", config.scl.i3c);
		break;

	/* HDR modes - disabled by default,
	 * enable I3C_TEST_ENABLE_HDR_MODES if supported
	 */
#ifdef I3C_TEST_ENABLE_HDR_MODES
	uint8_t hdr_mode;

	case I3C_TEST_HDR_DDR:
		hdr_mode = 0; /* ENTHDR0 = HDR-DDR */
		goto configure_hdr;
	case I3C_TEST_HDR_TSP:
		hdr_mode = 1; /* ENTHDR1 = HDR-TSP */
		goto configure_hdr;
	case I3C_TEST_HDR_TSL:
		hdr_mode = 2; /* ENTHDR2 = HDR-TSL */
		goto configure_hdr;

configure_hdr:
		/* First ensure we're in SDR mode before attempting HDR entry */
		if (current_mode != I3C_TEST_SDR) {
			i3c_test_reset_to_sdr(ctrl);
		}

		/* HDR mode requires ENTHDR CCC to enter */
		ret = i3c_do_ccc_enthdr(ctrl, hdr_mode);
		if (ret < 0) {
			LOG_WRN("Target(s) do not support %s mode: %d",
				mode_names[mode], ret);
			/* Reset to SDR - this includes DAA */
			i3c_test_reset_to_sdr(ctrl);
			return -ENOTSUP;
		}

		/* Set HDR frequency (25 MHz) after successful HDR entry */
		config.scl.i3c = I3C_TEST_HDR_FREQ_HZ;
		ret = i3c_configure(ctrl, I3C_CONFIG_CONTROLLER, &config);
		if (ret < 0) {
			LOG_DBG("HDR config returned: %d", ret);
			/* Non-fatal - driver may auto-configure for HDR */
		}
		current_mode = mode;
		LOG_INF("I3C bus configured for %s mode (%u Hz)",
			mode_names[mode], I3C_TEST_HDR_FREQ_HZ);
		break;
#endif

#ifdef I3C_TEST_ENABLE_I2C_FM
	case I3C_TEST_I2C_FM:
		/* Configure I2C Fast Mode - 400 kHz */
		config.scl.i2c = I3C_TEST_I2C_FM_HZ;
		ret = i3c_configure(ctrl, I3C_CONFIG_CONTROLLER, &config);
		if (ret < 0) {
			LOG_ERR("Failed to set I2C FM frequency: %d", ret);
			return ret;
		}
		current_mode = mode;
		LOG_INF("I3C bus I2C FM mode (%u Hz)", config.scl.i2c);
		break;

	case I3C_TEST_I2C_FMPLUS:
		/* Configure I2C Fast Mode Plus - 1 MHz */
		config.scl.i2c = I3C_TEST_I2C_FMPLUS_HZ;
		ret = i3c_configure(ctrl, I3C_CONFIG_CONTROLLER, &config);
		if (ret < 0) {
			LOG_ERR("Failed to set I2C FM+ frequency: %d", ret);
			return ret;
		}
		current_mode = mode;
		LOG_INF("I3C bus I2C FM+ mode (%u Hz)", config.scl.i2c);
		break;
#endif

	default:
		return -ENOTSUP;
	}

	return 0;
}

enum i3c_test_speed_mode i3c_test_get_speed_mode(const struct device *ctrl)
{
	ARG_UNUSED(ctrl);
	return current_mode;
}
```

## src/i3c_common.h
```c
/* Copyright Alif Semiconductor - All Rights Reserved.
 * Use, distribution and modification of this code is permitted under the
 * terms stated in the Alif Semiconductor Software License Agreement
 *
 * You should have received a copy of the Alif Semiconductor Software
 * License Agreement with this file. If not, please write to:
 * contact@alifsemi.com, or visit: https://alifsemi.com/license
 */

#ifndef I3C_COMMON_H
#define I3C_COMMON_H

#include <zephyr/kernel.h>
#include <zephyr/drivers/i3c.h>
#include <zephyr/drivers/i3c/ccc.h>
#include <zephyr/devicetree.h>

/* Max targets supported */
#define I3C_TEST_MAX_TARGETS 8

/* Target configuration from DT or Kconfig */
#define I3C_CONTROLLER_NODE DT_CHOSEN(zephyr_i3c)

/* Get target count from DT - count i3c devices on bus */
#if DT_HAS_COMPAT_STATUS_OKAY(bosch_bmi323)
#define I3C_TARGET_0_DA DT_PROP(DT_NODELABEL(bmi323), assigned_address)
#else
#define I3C_TARGET_0_DA 0x09
#endif
#define I3C_TEST_BMI323_ADDR I3C_TARGET_0_DA

#if DT_HAS_COMPAT_STATUS_OKAY(invensense_icm42670p)
#define I3C_TARGET_1_DA DT_PROP(DT_NODELABEL(icm42670), assigned_address)
#define I3C_TEST_ICM42670_ADDR I3C_TARGET_1_DA
#else
#define I3C_TARGET_1_DA 0x0A
#define I3C_TEST_ICM42670_ADDR 0x0A
#endif

/* Default targets array */
#ifndef I3C_TEST_NUM_TARGETS
#ifdef CONFIG_I3C_TEST_NUM_TARGETS
#define I3C_TEST_NUM_TARGETS CONFIG_I3C_TEST_NUM_TARGETS
#else
#define I3C_TEST_NUM_TARGETS 2
#endif
#endif

#ifndef I3C_TEST_TARGET_DA
#ifdef CONFIG_I3C_TEST_TARGET_DA
#define I3C_TEST_TARGET_DA CONFIG_I3C_TEST_TARGET_DA
#else
#define I3C_TEST_TARGET_DA I3C_TARGET_0_DA
#endif
#endif

#ifndef I3C_TEST_CHIP_ID_REG
#ifdef CONFIG_I3C_TEST_CHIP_ID_REG
#define I3C_TEST_CHIP_ID_REG CONFIG_I3C_TEST_CHIP_ID_REG
#else
#define I3C_TEST_CHIP_ID_REG 0x00
#endif
#endif

#ifndef I3C_TEST_CHIP_ID_VAL
#ifdef CONFIG_I3C_TEST_CHIP_ID_VAL
#define I3C_TEST_CHIP_ID_VAL CONFIG_I3C_TEST_CHIP_ID_VAL
#else
#define I3C_TEST_CHIP_ID_VAL 0x00
#endif
#endif

/* I3C Common Command Codes - test wrappers */
int i3c_do_ccc_rstdaa(const struct device *ctrl);

int i3c_do_ccc_entdaa(const struct device *ctrl);

int i3c_do_ccc_getpid(const struct device *ctrl, uint8_t da,
		     uint8_t *pid, size_t len);

int i3c_do_ccc_getbcr(const struct device *ctrl, uint8_t da, uint8_t *bcr);

int i3c_do_ccc_getdcr(const struct device *ctrl, uint8_t da, uint8_t *dcr);

int i3c_do_ccc_setmwl(const struct device *ctrl, uint8_t da, uint16_t mwl);

int i3c_do_ccc_getmwl(const struct device *ctrl, uint8_t da, uint16_t *mwl);

int i3c_do_ccc_getmrl(const struct device *ctrl, uint8_t da, uint16_t *mrl);

int i3c_do_ccc_getstatus(const struct device *ctrl, uint8_t da,
			 uint16_t *status);

int i3c_do_ccc_enec(const struct device *ctrl, uint8_t da, uint8_t events);

int i3c_do_ccc_disec(const struct device *ctrl, uint8_t da, uint8_t events);

int i3c_do_ccc_enec_broadcast(const struct device *ctrl, uint8_t events);

int i3c_do_ccc_disec_broadcast(const struct device *ctrl, uint8_t events);

int i3c_do_ccc_getcaps(const struct device *ctrl, uint8_t da,
		       uint8_t *caps, size_t len);

int i3c_do_ccc_rstact(const struct device *ctrl, uint8_t da, uint8_t action);

int i3c_do_ccc_enthdr(const struct device *ctrl, uint8_t hdr_mode);

/* I3C Transfer operations */
int i3c_transfer_write(const struct device *ctrl, uint8_t da,
		       const uint8_t *buf, size_t len);

int i3c_transfer_read(const struct device *ctrl, uint8_t da,
		      uint8_t *buf, size_t len);

int i3c_transfer_write_read(const struct device *ctrl, uint8_t da,
			    const uint8_t *write_buf, size_t write_len,
			    uint8_t *read_buf, size_t read_len);

/* Register operations (write reg addr then read/write data) */
int i3c_reg_read(const struct device *ctrl, uint8_t da, uint8_t reg,
		 uint8_t *buf, size_t len);

int i3c_reg_write(const struct device *ctrl, uint8_t da, uint8_t reg,
		  const uint8_t *buf, size_t len);

int i3c_reg8_read(const struct device *ctrl, uint8_t da,
		  uint8_t reg, uint8_t *val);

int i3c_reg8_write(const struct device *ctrl, uint8_t da,
		   uint8_t reg, uint8_t val);

/* Target helpers */
struct i3c_device_desc *i3c_find_target(const struct device *ctrl, uint8_t da);
int i3c_get_target_count(const struct device *ctrl);

/* Target attach/detach for test setup/teardown */
int i3c_test_attach_target(const struct device *ctrl,
			   struct i3c_device_desc *desc);

int i3c_test_detach_target(const struct device *ctrl,
			   struct i3c_device_desc *desc);

/* Chip ID validation */
int i3c_check_chip_id(const struct device *ctrl, uint8_t da,
		      uint8_t reg, uint8_t expected);

/* ============================================================================
 * Frequency Mode Support
 * ============================================================================
 * I3C bus speed modes:
 *   - SDR: Single Data Rate (12.5 MHz typical)
 *   - HDR-DDR: Double Data Rate mode (up to 25 MHz)
 *   - HDR-TSP/TSL: Ternary symbol modes (up to 25 MHz)
 *
 * I2C Legacy speeds for mixed bus:
 *   - FM: Fast Mode (400 kHz) - disabled by default
 *   - FM+: Fast Mode Plus (1 MHz) - disabled by default
 *
 * HDR and I2C legacy modes are disabled by default as current targets
 * only support SDR.
 */

/* Uncomment to enable I2C-FM (400 kHz) mode testing:
 * #define I3C_TEST_ENABLE_I2C_FM
 */

/* Uncomment to enable HDR mode testing:
 * #define I3C_TEST_ENABLE_HDR_MODES
 */

enum i3c_test_speed_mode {
	/* I3C Native modes - tested first */
	I3C_TEST_SDR = 0,        /* SDR (12.5 MHz) - always enabled */

#ifdef I3C_TEST_ENABLE_HDR_MODES
	/* HDR modes - require I3C SDR context, tested after SDR */
	I3C_TEST_HDR_DDR = 1,    /* HDR-DDR (25 MHz) */
	I3C_TEST_HDR_TSP = 2,    /* HDR-TSP (25 MHz) */
	I3C_TEST_HDR_TSL = 3,    /* HDR-TSL (25 MHz) */
#endif

	/* I2C Legacy modes - tested last (require different bus context) */
#ifdef I3C_TEST_ENABLE_I2C_FM
	I3C_TEST_I2C_FM = 4,     /* I2C Fast Mode (400 kHz) */
	I3C_TEST_I2C_FMPLUS = 5, /* I2C Fast Mode Plus (1 MHz) */
#endif

	I3C_TEST_NUM_MODES       /* Total supported modes */
};

/* I3C frequency values in Hz */
#define I3C_TEST_SDR_FREQ_HZ      12500000U  /* 12.5 MHz */
#define I3C_TEST_HDR_FREQ_HZ      25000000U  /* 25 MHz for all HDR modes */

/* I2C legacy speed values in Hz */
#define I3C_TEST_I2C_FM_HZ        400000U    /* 400 kHz I2C FM */
#define I3C_TEST_I2C_FMPLUS_HZ    1000000U   /* 1 MHz I2C FM+ */

/* Set current test speed mode */
int i3c_test_set_speed_mode(const struct device *ctrl,
			    enum i3c_test_speed_mode mode);

/* Get current test speed mode */
enum i3c_test_speed_mode i3c_test_get_speed_mode(const struct device *ctrl);

/* Reset bus to SDR mode - configures frequency, does NOT do RSTDAA+DAA */
int i3c_test_reset_to_sdr(const struct device *ctrl);

/**
 * @brief Perform RSTDAA + DAA for test setup.
 *
 * Runs the full sequence on every call. The RSTDAA CCC helper keeps
 * cached target descriptors and address slots synchronized with the bus.
 *
 * @param ctrl I3C controller device
 * @return Number of assigned devices (>= 0), negative errno on failure
 */
int i3c_test_do_rstdaa_daa(const struct device *ctrl);

/* Run test on all speed modes */
#define I3C_TEST_FOR_EACH_MODE(ctrl, mode) \
	const struct device *_test_ctrl = (ctrl); \
	enum i3c_test_speed_mode mode; \
	int _mode_setup_ret; \
	for (mode = I3C_TEST_SDR; mode < I3C_TEST_NUM_MODES; mode++) { \
		_mode_setup_ret = i3c_test_set_speed_mode(_test_ctrl, mode); \
		if (_mode_setup_ret == 0) { \
			LOG_INF("Testing in %s mode (%u Hz)", \
				i3c_test_mode_name(mode), \
				i3c_test_mode_frequency(mode));

#define I3C_TEST_END_EACH_MODE \
		} \
	} \
	/* Return to SDR after HDR modes to ensure clean state */ \
	if (mode != I3C_TEST_SDR) { \
		i3c_test_reset_to_sdr(_test_ctrl); \
	} \
	(void)_test_ctrl;

/* Get mode name and frequency for logging */
const char *i3c_test_mode_name(enum i3c_test_speed_mode mode);
uint32_t i3c_test_mode_frequency(enum i3c_test_speed_mode mode);

/* Multi-target test execution macro */
/* Run test code block on each target with assigned dynamic address.
 * Skip if none found. Note: static_addr may be 0 for I3C-only devices.
 */
#define I3C_TEST_FOR_EACH_TARGET(ctrl, desc) \
	struct i3c_device_desc *desc = NULL; \
	int _target_found = 0; \
	I3C_BUS_FOR_EACH_I3CDEV((ctrl), desc) { \
		if (desc->dynamic_addr == 0) { \
			continue; \
		} \
		_target_found = 1; \
		{

#define I3C_TEST_END_EACH_TARGET \
		} \
	} \
	if (!_target_found) { \
		ztest_test_skip(); \
		(void)_target_found; \
	}
#endif
```
